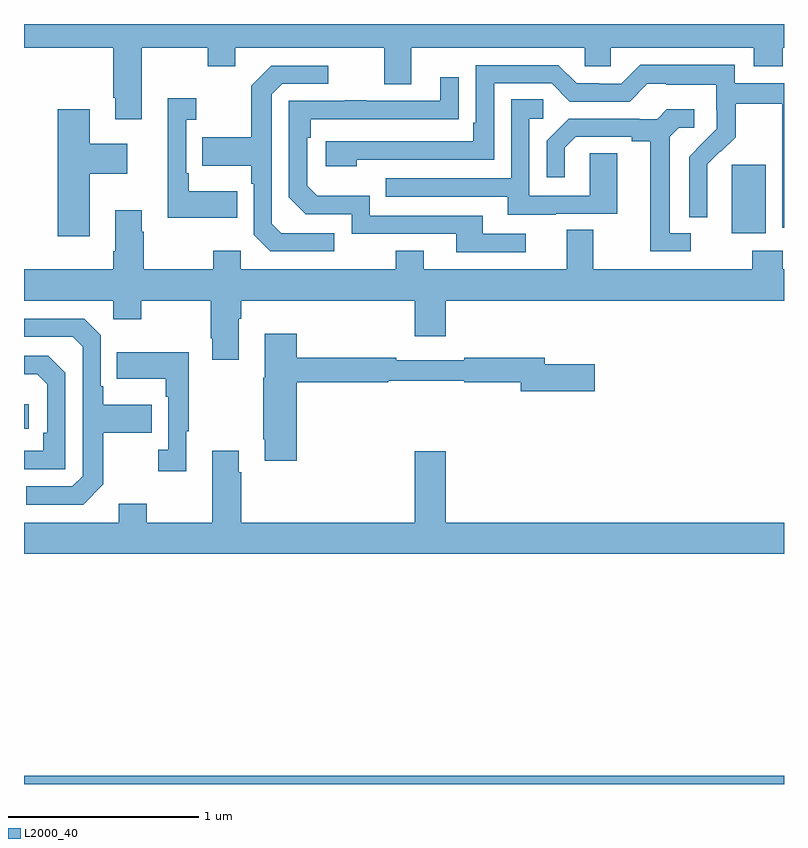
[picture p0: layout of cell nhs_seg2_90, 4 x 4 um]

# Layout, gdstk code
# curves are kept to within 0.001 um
import gdstk
lib = gdstk.Library(unit=1e-6, precision=1e-09)
def R(c, l, rs):  # rectangles x0, y0, x1, y1
    for r in rs: c.add(gdstk.rectangle(r[:2], r[2:], *l))
def P(c, l, *ps):  # polygons
    for p in ps: c.add(gdstk.Polygon(p, *l))
L2000_40 = (2000, 40)

nhs_seg2_90 = lib.new_cell('nhs_seg2_90')
R(nhs_seg2_90, L2000_40, [(115,603.8,119,603.844), (115,605.67,115.024,605.8), (118.724,606.698,118.903,607.059)])
P(nhs_seg2_90, L2000_40, [(115.621,607.676),(115.966,607.676),(115.966,607.577),(116.113,607.577),(116.113,607.676),(116.897,607.676),(116.897,607.482),(117.037,607.482),(117.037,607.676),(117.951,607.676),(117.951,607.578),(118.089,607.578),(118.089,607.676),(118.841,607.676),(118.841,607.577),(118.994,607.577),(118.994,607.676),(119,607.676),(119,607.8),(115,607.8),(115,607.676),(115.469,607.676),(115.469,607.411),(115.481,607.411),(115.481,607.299),(115.621,607.299)],
  [(119,607.488),(118.74,607.488),(118.74,607.585),(118.243,607.585),(118.143,607.485),(118.028,607.485),(118.028,607.488),(117.909,607.488),(117.813,607.584),(117.378,607.584),(117.378,607.279),(117.365,607.279),(117.365,607.182),(116.589,607.182),(116.589,607.052),(116.75,607.052),(116.75,607.086),(117.474,607.086),(117.474,607.488),(117.777,607.488),(117.873,607.392),(118.188,607.392),(118.281,607.485),(118.381,607.485),(118.381,607.481),(118.644,607.481),(118.644,607.347),(118.646,607.347),(118.646,607.25),(118.5,607.102),(118.5,606.784),(118.596,606.784),(118.595,607.061),(118.665,607.131),(118.668,607.128),(118.745,607.205),(118.745,607.38),(118.99,607.38),(118.99,607.156),(118.992,607.156),(118.992,606.727),(119,606.727)],
  [(116.632,606.699),(116.355,606.699),(116.304,606.75),(116.304,607.431),(116.358,607.485),(116.602,607.485),(116.602,607.581),(116.301,607.581),(116.196,607.475),(116.196,607.203),(115.939,607.203),(115.939,607.055),(116.196,607.055),(116.196,606.959),(116.208,606.959),(116.208,606.69),(116.295,606.603),(116.632,606.603)],
  [(117.64,606.696),(117.415,606.696),(117.415,606.792),(116.82,606.792),(116.82,606.895),(116.543,606.895),(116.49,606.948),(116.49,607.202),(116.51,607.202),(116.51,607.299),(117.287,607.3),(117.287,607.519),(117.191,607.519),(117.191,607.395),(116.801,607.395),(116.801,607.4),(116.689,607.4),(116.689,607.395),(116.394,607.395),(116.394,606.888),(116.484,606.798),(116.724,606.798),(116.724,606.696),(117.275,606.696),(117.275,606.6),(117.64,606.6)],
  [(116.123,606.919),(115.867,606.919),(115.867,607.015),(115.854,607.015),(115.854,607.295),(115.906,607.295),(115.906,607.408),(115.757,607.408),(115.757,606.779),(116.123,606.779)],
  [(117.799,606.801),(118.123,606.801),(118.123,607.121),(117.978,607.121),(117.978,606.897),(117.66,606.897),(117.66,607.302),(117.733,607.302),(117.733,607.403),(117.564,607.403),(117.564,606.987),(116.905,606.987),(116.905,606.891),(117.545,606.891),(117.545,606.797),(117.799,606.797)],
  [(115.345,607.013),(115.543,607.013),(115.543,607.171),(115.345,607.171),(115.345,607.351),(115.178,607.351),(115.178,606.684),(115.345,606.684)],
  [(118.51,606.699),(118.399,606.699),(118.399,607.207),(118.446,607.254),(118.528,607.254),(118.528,607.351),(118.384,607.351),(118.332,607.299),(118.238,607.299),(118.238,607.302),(117.866,607.302),(117.75,607.186),(117.75,606.993),(117.847,606.993),(117.847,607.149),(117.904,607.206),(118.199,607.206),(118.199,607.184),(118.295,607.184),(118.295,606.603),(118.51,606.603)],
  [(116.131,606.248),(116.144,606.248),(116.144,606.344),(117.056,606.344),(117.056,606.156),(117.22,606.156),(117.22,606.344),(119,606.344),(119,606.508),(118.994,606.508),(118.994,606.607),(118.834,606.607),(118.834,606.508),(117.997,606.508),(117.997,606.716),(117.857,606.716),(117.857,606.508),(117.103,606.508),(117.103,606.607),(116.956,606.607),(116.956,606.508),(116.142,606.508),(116.142,606.607),(115.996,606.607),(115.996,606.508),(115.629,606.508),(115.629,606.707),(115.621,606.707),(115.621,606.82),(115.481,606.82),(115.481,606.604),(115.469,606.604),(115.469,606.508),(115,606.508),(115,606.344),(115.47,606.344),(115.47,606.245),(115.617,606.245),(115.617,606.344),(115.984,606.344),(115.984,606.145),(115.991,606.145),(115.991,606.033),(116.131,606.033)],
  [(115.417,605.377),(115.417,605.65),(115.673,605.65),(115.673,605.797),(115.417,605.797),(115.417,605.893),(115.404,605.893),(115.404,606.162),(115.317,606.249),(115,606.249),(115,606.153),(115.257,606.153),(115.308,606.102),(115.308,605.421),(115.254,605.367),(115.011,605.367),(115.011,605.271),(115.311,605.271)],
  [(116.435,605.914),(116.918,605.914),(116.918,605.922),(117.318,605.922),(117.318,605.914),(117.614,605.914),(117.614,605.867),(118.003,605.867),(118.003,606.009),(117.742,606.009),(117.742,606.043),(117.316,606.043),(117.316,606.03),(116.96,606.03),(116.96,606.043),(116.435,606.043),(116.435,606.169),(116.267,606.169),(116.267,605.937),(116.26,605.937),(116.26,605.614),(116.267,605.614),(116.267,605.502),(116.435,605.502)],
  [(115.855,605.657),(115.867,605.657),(115.867,606.073),(115.489,606.073),(115.489,605.933),(115.746,605.933),(115.746,605.837),(115.758,605.837),(115.758,605.558),(115.707,605.558),(115.707,605.445),(115.855,605.445)],
  [(115.218,605.964),(115.128,606.054),(115,606.054),(115,605.957),(115.069,605.957),(115.122,605.904),(115.122,605.65),(115.102,605.65),(115.102,605.553),(115,605.553),(115,605.457),(115.218,605.457)],
  [(119,605.176),(117.22,605.176),(117.22,605.551),(117.056,605.551),(117.056,605.176),(116.144,605.176),(116.144,605.441),(116.131,605.441),(116.131,605.554),(115.991,605.554),(115.991,605.176),(115.647,605.176),(115.647,605.275),(115.499,605.275),(115.499,605.176),(115,605.176),(115,605.012),(119,605.012)])

lib.write_gds('nhs_seg2_90.gds')
